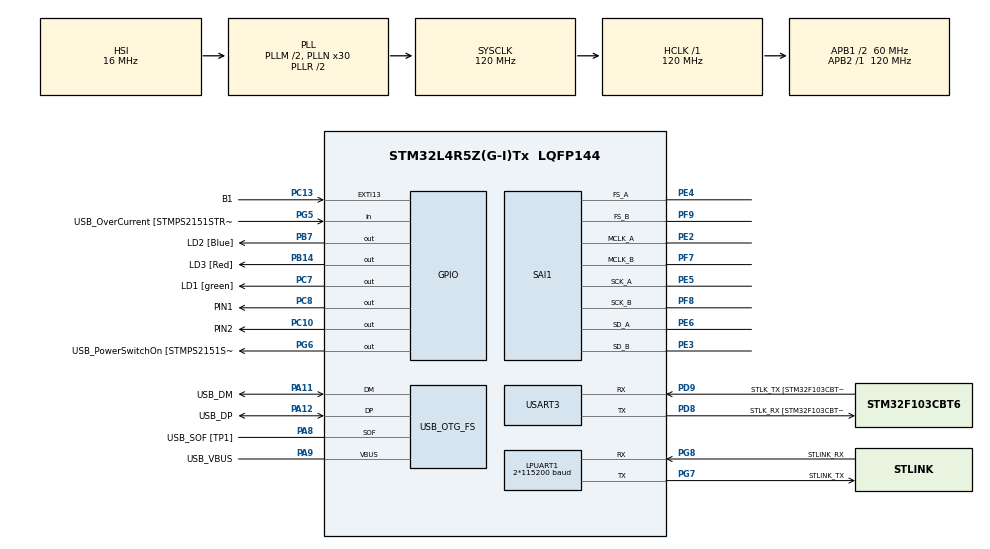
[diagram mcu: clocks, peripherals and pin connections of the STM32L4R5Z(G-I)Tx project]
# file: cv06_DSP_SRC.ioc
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Dma.LPUART1_RX.0.Direction=DMA_PERIPH_TO_MEMORY
Dma.LPUART1_RX.0.EventEnable=DISABLE
Dma.LPUART1_RX.0.Instance=DMA1_Channel1
Dma.LPUART1_RX.0.MemDataAlignment=DMA_MDATAALIGN_BYTE
Dma.LPUART1_RX.0.MemInc=DMA_MINC_ENABLE
Dma.LPUART1_RX.0.Mode=DMA_NORMAL
Dma.LPUART1_RX.0.PeriphDataAlignment=DMA_PDATAALIGN_BYTE
Dma.LPUART1_RX.0.PeriphInc=DMA_PINC_DISABLE
Dma.LPUART1_RX.0.Polarity=HAL_DMAMUX_REQUEST_GEN_RISING
Dma.LPUART1_RX.0.Priority=DMA_PRIORITY_LOW
Dma.LPUART1_RX.0.RequestNumber=1
Dma.LPUART1_RX.0.SignalID=NONE
Dma.LPUART1_RX.0.SyncEnable=DISABLE
Dma.LPUART1_RX.0.SyncPolarity=HAL_DMAMUX_SYNC_NO_EVENT
Dma.LPUART1_RX.0.SyncRequestNumber=1
Dma.LPUART1_RX.0.SyncSignalID=NONE
Dma.LPUART1_TX.1.Direction=DMA_MEMORY_TO_PERIPH
Dma.LPUART1_TX.1.EventEnable=DISABLE
Dma.LPUART1_TX.1.Instance=DMA1_Channel2
Dma.LPUART1_TX.1.MemDataAlignment=DMA_MDATAALIGN_BYTE
Dma.LPUART1_TX.1.MemInc=DMA_MINC_ENABLE
Dma.LPUART1_TX.1.Mode=DMA_NORMAL
Dma.LPUART1_TX.1.PeriphDataAlignment=DMA_PDATAALIGN_BYTE
Dma.LPUART1_TX.1.PeriphInc=DMA_PINC_DISABLE
Dma.LPUART1_TX.1.Polarity=HAL_DMAMUX_REQUEST_GEN_RISING
Dma.LPUART1_TX.1.Priority=DMA_PRIORITY_LOW
Dma.LPUART1_TX.1.RequestNumber=1
Dma.LPUART1_TX.1.SignalID=NONE
Dma.LPUART1_TX.1.SyncEnable=DISABLE
Dma.LPUART1_TX.1.SyncPolarity=HAL_DMAMUX_SYNC_NO_EVENT
Dma.LPUART1_TX.1.SyncRequestNumber=1
Dma.LPUART1_TX.1.SyncSignalID=NONE
Dma.MEMTOMEM.2.Direction=DMA_MEMORY_TO_MEMORY
Dma.MEMTOMEM.2.EventEnable=DISABLE
Dma.MEMTOMEM.2.Instance=DMA2_Channel1
Dma.MEMTOMEM.2.MemDataAlignment=DMA_MDATAALIGN_WORD
Dma.MEMTOMEM.2.MemInc=DMA_MINC_ENABLE
Dma.MEMTOMEM.2.Mode=DMA_NORMAL
Dma.MEMTOMEM.2.PeriphDataAlignment=DMA_PDATAALIGN_WORD
Dma.MEMTOMEM.2.PeriphInc=DMA_PINC_ENABLE
Dma.MEMTOMEM.2.Polarity=HAL_DMAMUX_REQUEST_GEN_RISING
Dma.MEMTOMEM.2.Priority=DMA_PRIORITY_LOW
Dma.MEMTOMEM.2.RequestNumber=1
Dma.MEMTOMEM.2.SignalID=NONE
Dma.MEMTOMEM.2.SyncEnable=DISABLE
Dma.MEMTOMEM.2.SyncPolarity=HAL_DMAMUX_SYNC_NO_EVENT
Dma.MEMTOMEM.2.SyncRequestNumber=1
Dma.MEMTOMEM.2.SyncSignalID=NONE
Dma.Request0=LPUART1_RX
Dma.Request1=LPUART1_TX
Dma.Request2=MEMTOMEM
Dma.Request3=SAI1_A
Dma.Request4=SAI1_B
Dma.SAI1_A.3.Direction=DMA_MEMORY_TO_PERIPH
Dma.SAI1_A.3.EventEnable=DISABLE
Dma.SAI1_A.3.Instance=DMA1_Channel3
Dma.SAI1_A.3.MemDataAlignment=DMA_MDATAALIGN_WORD
Dma.SAI1_A.3.MemInc=DMA_MINC_ENABLE
Dma.SAI1_A.3.Mode=DMA_CIRCULAR
Dma.SAI1_A.3.PeriphDataAlignment=DMA_PDATAALIGN_WORD
Dma.SAI1_A.3.PeriphInc=DMA_PINC_DISABLE
Dma.SAI1_A.3.Polarity=HAL_DMAMUX_REQUEST_GEN_RISING
Dma.SAI1_A.3.Priority=DMA_PRIORITY_HIGH
Dma.SAI1_A.3.RequestNumber=1
Dma.SAI1_A.3.SignalID=NONE
Dma.SAI1_A.3.SyncEnable=DISABLE
Dma.SAI1_A.3.SyncPolarity=HAL_DMAMUX_SYNC_NO_EVENT
Dma.SAI1_A.3.SyncRequestNumber=1
Dma.SAI1_A.3.SyncSignalID=NONE
Dma.SAI1_B.4.Direction=DMA_PERIPH_TO_MEMORY
Dma.SAI1_B.4.EventEnable=DISABLE
Dma.SAI1_B.4.Instance=DMA1_Channel4
Dma.SAI1_B.4.MemDataAlignment=DMA_MDATAALIGN_WORD
Dma.SAI1_B.4.MemInc=DMA_MINC_ENABLE
Dma.SAI1_B.4.Mode=DMA_CIRCULAR
Dma.SAI1_B.4.PeriphDataAlignment=DMA_PDATAALIGN_WORD
Dma.SAI1_B.4.PeriphInc=DMA_PINC_DISABLE
Dma.SAI1_B.4.Polarity=HAL_DMAMUX_REQUEST_GEN_RISING
Dma.SAI1_B.4.Priority=DMA_PRIORITY_HIGH
Dma.SAI1_B.4.RequestNumber=1
Dma.SAI1_B.4.SignalID=NONE
Dma.SAI1_B.4.SyncEnable=DISABLE
Dma.SAI1_B.4.SyncPolarity=HAL_DMAMUX_SYNC_NO_EVENT
Dma.SAI1_B.4.SyncRequestNumber=1
Dma.SAI1_B.4.SyncSignalID=NONE
LPUART1.BaudRate=2*115200
LPUART1.WordLength=UART_WORDLENGTH_8B
Mcu.Family=STM32L4
Mcu.Name=STM32L4R5Z(G-I)Tx
Mcu.Package=LQFP144
NVIC.DMA1_Channel1_IRQn=true\:0\:0\:false\:false\:true\:false\:true\:true
NVIC.DMA1_Channel2_IRQn=true\:0\:0\:false\:false\:true\:false\:true\:true
NVIC.DMA1_Channel3_IRQn=true\:0\:0\:false\:false\:true\:false\:true\:true
NVIC.DMA1_Channel4_IRQn=true\:0\:0\:false\:false\:true\:false\:true\:true
NVIC.DMA2_Channel1_IRQn=true\:0\:0\:false\:false\:true\:true\:true\:true
NVIC.EXTI15_10_IRQn=true\:0\:0\:false\:false\:true\:true\:true\:true
NVIC.LPUART1_IRQn=true\:0\:0\:false\:false\:true\:true\:true\:true
NVIC.PriorityGroup=NVIC_PRIORITYGROUP_4
NVIC.SAI1_IRQn=true\:0\:0\:false\:false\:true\:true\:true\:true
NVIC.TIM6_DAC_IRQn=true\:0\:0\:false\:false\:true\:true\:true\:true
PA10.GPIO_Label=USB_ID
PA10.Signal=USB_OTG_FS_ID
PA11.GPIO_Label=USB_DM
PA11.Mode=Device_Only
PA11.Signal=USB_OTG_FS_DM
PA12.GPIO_Label=USB_DP
PA12.Mode=Device_Only
PA12.Signal=USB_OTG_FS_DP
PA13\ (JTMS/SWDIO).GPIO_Label=TMS
PA13\ (JTMS/SWDIO).Mode=Trace_Asynchronous_SW
PA13\ (JTMS/SWDIO).Signal=SYS_JTMS-SWDIO
PA14\ (JTCK/SWCLK).GPIO_Label=TCK
PA14\ (JTCK/SWCLK).Mode=Trace_Asynchronous_SW
PA14\ (JTCK/SWCLK).Signal=SYS_JTCK-SWCLK
PA8.GPIO_Label=USB_SOF [TP1]
PA8.Mode=Activate_SOF_FS
PA8.Signal=USB_OTG_FS_SOF
PA9.GPIO_Label=USB_VBUS
PA9.Mode=Activate_VBUS
PA9.Signal=USB_OTG_FS_VBUS
PB14.GPIO_Label=LD3 [Red]
PB14.Signal=GPIO_Output
PB3\ (JTDO/TRACESWO).GPIO_Label=SWO
PB3\ (JTDO/TRACESWO).Mode=Trace_Asynchronous_SW
PB3\ (JTDO/TRACESWO).Signal=SYS_JTDO-SWO
PB7.GPIO_Label=LD2 [Blue]
PB7.Signal=GPIO_Output
PC10.GPIO_Label=PIN2
PC10.Signal=GPIO_Output
PC13.GPIO_Label=B1
PC13.GPIO_ModeDefaultEXTI=GPIO_MODE_IT_RISING_FALLING
PC13.Signal=GPXTI13
PC14-OSC32_IN\ (PC14).Mode=LSE-External-Oscillator
PC14-OSC32_IN\ (PC14).Signal=RCC_OSC32_IN
PC15-OSC32_OUT\ (PC15).Mode=LSE-External-Oscillator
PC15-OSC32_OUT\ (PC15).Signal=RCC_OSC32_OUT
PC7.GPIO_Label=LD1 [green]
PC7.Signal=GPIO_Output
PC8.GPIO_Label=PIN1
PC8.Signal=GPIO_Output
PD8.GPIO_Label=STLK_RX [STM32F103CBT6_PA3]
PD8.Mode=Asynchronous
PD8.Signal=USART3_TX
PD9.GPIO_Label=STLK_TX [STM32F103CBT6_PA2]
PD9.Mode=Asynchronous
PD9.Signal=USART3_RX
PE2.Mode=SAI_A_MasterWithClock
PE2.Signal=SAI1_MCLK_A
PE3.Mode=SAI_B_MasterWithClock
PE3.Signal=SAI1_SD_B
PE4.Mode=SAI_A_MasterWithClock
PE4.Signal=SAI1_FS_A
PE5.Mode=SAI_A_MasterWithClock
PE5.Signal=SAI1_SCK_A
PE6.Mode=SAI_A_MasterWithClock
PE6.Signal=SAI1_SD_A
PF7.Mode=SAI_B_MasterWithClock
PF7.Signal=SAI1_MCLK_B
PF8.Mode=SAI_B_MasterWithClock
PF8.Signal=SAI1_SCK_B
PF9.Mode=SAI_B_MasterWithClock
PF9.Signal=SAI1_FS_B
PG5.GPIO_Label=USB_OverCurrent [STMPS2151STR_FAULT]
PG5.Signal=GPIO_Input
PG6.GPIO_Label=USB_PowerSwitchOn [STMPS2151STR_EN]
PG6.Signal=GPIO_Output
PG7.GPIO_Label=STLINK_TX
PG7.Mode=Asynchronous
PG7.Signal=LPUART1_TX
PG8.GPIO_Label=STLINK_RX
PG8.Mode=Asynchronous
PG8.Signal=LPUART1_RX
PH0-OSC_IN\ (PH0).Signal=RCC_OSC_IN
PH1-OSC_OUT\ (PH1).Signal=RCC_OSC_OUT
ProjectManager.HeapSize=0x200
ProjectManager.StackSize=0x400
ProjectManager.TargetToolchain=STM32CubeIDE
RCC.48MHZClocksFreq_Value=24000000
RCC.ADCFreq_Value=153600000
RCC.AHBFreq_Value=120000000
RCC.APB1CLKDivider=RCC_HCLK_DIV2
RCC.APB1Freq_Value=60000000
RCC.APB1TimFreq_Value=120000000
RCC.APB2Freq_Value=120000000
RCC.APB2TimFreq_Value=120000000
RCC.CK48CLockSelection=RCC_USBCLKSOURCE_HSI48
RCC.CortexFreq_Value=120000000
RCC.HCLKFreq_Value=120000000
RCC.HSE_VALUE=8000000
RCC.HSI48_VALUE=48000000
RCC.HSI_VALUE=16000000
RCC.MSI_VALUE=4000000
RCC.PLLM1=2
RCC.PLLM2=5
RCC.PLLMUL=RCC_PLL_MUL9
RCC.PLLN=30
RCC.PLLSAI1N=96
RCC.PLLSAI1P=RCC_PLLP_DIV25
RCC.PLLSourceVirtual=RCC_PLLSOURCE_HSI
RCC.PRESCALERUSB=RCC_USBCLKSOURCE_PLL_DIV1_5
RCC.SYSCLKFreq_VALUE=120000000
RCC.SYSCLKSource=RCC_SYSCLKSOURCE_PLLCLK
RCC.SYSCLKSourceVirtual=RCC_SYSCLKSOURCE_PLLCLK
RCC.USBFreq_Value=48000000
RCC.VCOOutputFreq_Value=240000000
SAI1.AudioFrequency-SAI_A_MasterWithClock=SAI_AUDIO_FREQUENCY_48K
SAI1.AudioFrequency-SAI_B_MasterWithClock=SAI_AUDIO_FREQUENCY_48K
SAI1.AudioMode-SAI_B_MasterWithClock=SAI_MODEMASTER_RX
SAI1.BasicDataSize-SAI_A_MasterWithClock=SAI_PROTOCOL_DATASIZE_24BIT
SAI1.BasicDataSize-SAI_B_MasterWithClock=SAI_PROTOCOL_DATASIZE_24BIT
SAI1.ErrorAudioFreq-SAI_A_MasterWithClock=0.0 %
SAI1.ErrorAudioFreq-SAI_B_MasterWithClock=0.0 %
SAI1.InitProtocol-SAI_A_MasterWithClock=Enable
SAI1.InitProtocol-SAI_B_MasterWithClock=Enable
SAI1.Instance-SAI_A_MasterWithClock=SAI$Index_Block_A
SAI1.Instance-SAI_B_MasterWithClock=SAI$Index_Block_B
SAI1.MClockEnable-SAI_A_MasterWithClock=SAI_MASTERCLOCK_ENABLE
SAI1.MClockEnable-SAI_B_MasterWithClock=SAI_MASTERCLOCK_ENABLE
SAI1.RealAudioFreq-SAI_A_MasterWithClock=48.0 KHz
SAI1.RealAudioFreq-SAI_B_MasterWithClock=48.0 KHz
SAI1.VirtualMode-SAI_A_MasterWithClock=VM_MASTER
SAI1.VirtualMode-SAI_B_MasterWithClock=VM_MASTER
SAI1.VirtualProtocol-SAI_A_BASIC=VM_BASIC_PROTOCOL
SAI1.VirtualProtocol-SAI_B_BASIC=VM_BASIC_PROTOCOL
TIM6.Period=12000
TIM6.Prescaler=1000
USART3.VirtualMode-Asynchronous=VM_ASYNC
USB_OTG_FS.VirtualMode=Device_Only
VP_SAI1_VP_$IpInstance_SAIA_SAI_BASIC.Mode=SAI_A_BASIC
VP_SAI1_VP_$IpInstance_SAIB_SAI_BASIC.Mode=SAI_B_BASIC
VP_TIM5_VS_ClockSourceINT.Mode=Internal
VP_TIM6_VS_ClockSourceINT.Mode=Enable_Timer
board=NUCLEO-L4R5ZI

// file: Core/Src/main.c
/* USER CODE BEGIN Header */
/**
  ******************************************************************************
  * @file           : main.c
  * @brief          : Main program body
  ******************************************************************************
  * @attention
  *
  * Copyright (c) 2024 STMicroelectronics.
  * All rights reserved.
  *
  * This software is licensed under terms that can be found in the LICENSE file
  * in the root directory of this software component.
  * If no LICENSE file comes with this software, it is provided AS-IS.
  *
  ******************************************************************************
  */
/* USER CODE END Header */
#include "main.h"

/* USER CODE BEGIN Includes */

#include <string.h>
#include "TimeStamp.h"
#include "DSP_SAI_config.h"
#include "MATLAB_2_STM32.h"

#include "math.h"
#include "arm_math.h"

/* USER CODE END Includes */

UART_HandleTypeDef hlpuart1;
UART_HandleTypeDef huart3;
DMA_HandleTypeDef hdma_lpuart1_rx;
DMA_HandleTypeDef hdma_lpuart1_tx;

SAI_HandleTypeDef hsai_BlockA1;
SAI_HandleTypeDef hsai_BlockB1;
DMA_HandleTypeDef hdma_sai1_a;
DMA_HandleTypeDef hdma_sai1_b;

TIM_HandleTypeDef htim5;
TIM_HandleTypeDef htim6;

PCD_HandleTypeDef hpcd_USB_OTG_FS;

DMA_HandleTypeDef hdma_memtomem_dma2_channel1;
/* USER CODE BEGIN PV */
#define BLOCK_SIZE_MAX1 4800
/* USER CODE END PV */

void SystemClock_Config(void);
void PeriphCommonClock_Config(void);
static void MX_GPIO_Init(void);
static void MX_DMA_Init(void);
static void MX_LPUART1_UART_Init(void);
static void MX_USART3_UART_Init(void);
static void MX_USB_OTG_FS_PCD_Init(void);
static void MX_TIM6_Init(void);
static void MX_TIM5_Init(void);
static void MX_SAI1_Init(void);

/* USER CODE BEGIN 0 */

void DataReceive_MTLB_Callback(uint16_t iD, uint32_t * xData, uint16_t nData_in_values)
{//kdyz prijdou data z matlabu, tak se toto zavola a zde je vetveni a zpracovani
	switch(iD)
	{
	case 40001://get temperature
//		DataTransmit2MTLB(40001,(uint8_t *) &teplota[nTeplota], 1);
		break;
	case 40002:
	//	DataTransmit2MTLB(40002,(uint8_t *) teplota, 61);
	case 35000:
		float x3[1000];

		TimeStamp_SET_char('X');

		for(int i=0; i<1000; i++)
		{
			x3[i]=arm_sin_f32(2*PI*1000*i/48000);//1544us (mikro sekund) - off SAI; 5200us on SAI

			//x3[i]=sin(2*PI*1000*i/48000);// 29933 us - vypnuty SAI
		}
		TimeStamp_SET_char('Y');

		uint32_t x_time = FindTimeStamp('Y') - FindTimeStamp('X');

		DataTransmit2MTLB(35000, (uint8_t *)x3, 1000);

		while(s2m_Status)// toto neni dobre reseni...
					{
					}

		DataTransmit2MTLB(15000,(uint8_t *) &x_time, 1);
		break;
	case 20000:
		if( xData[0] == 12345)
		{
			xData[0]++;
			DataTransmit2MTLB(20001,(uint8_t *)xData, 1);

		}
	default:
	}
}

uint32_t nALive, x_nALive;
uint32_t x, x1;
float Fs, f1, A1;
void HAL_TIM_PeriodElapsedCallback(TIM_HandleTypeDef *htim)
{
  if(htim == &htim6)
  {
	  x1++;
	  if(x1>=x)
	  {
		  HAL_GPIO_TogglePin(LD1_GPIO_Port, LD1_Pin);
		  x1=0;
	  }

	  x_nALive++;
	  if(x_nALive == 10)
	  {
		  x_nALive=0;
		  nALive++;
		  if(!m2s_Status)
			  DataTransmit2MTLB(1010, (uint8_t *) &nALive, 1);
	  }
  }
}

void HAL_GPIO_EXTI_Callback(uint16_t GPIO_Pin)
{
  if(GPIO_Pin==B1_Pin)
  {
	  if(HAL_GPIO_ReadPin(B1_GPIO_Port, B1_Pin))
	  {
		  x=1;
	  	  TimeStamp_SET_char('G');
	  }
	  else
	  {
		  x=5;
		  TimeStamp_SET_char('H');
		  uint32_t butt_transfer_time = FindTimeStamp('H') - FindTimeStamp('G');
		  DataTransmit2MTLB(10001, (uint8_t *) &butt_transfer_time, 1);
	  }
	  HAL_GPIO_WritePin(PIN1_GPIO_Port, PIN1_Pin, HAL_GPIO_ReadPin(B1_GPIO_Port, B1_Pin));
  }

}

uint32_t butt_transfer_time1;
uint32_t butt_transfer_time;

void XferCpltCallback(DMA_HandleTypeDef *hdma)
{
    //__NOP(); //Line reached only if transfer was successful. Toggle a breakpoint here
    TimeStamp_SET_F();
    TimeStamp_SET_F();

    butt_transfer_time1++;
    butt_transfer_time++;

}

/**
// Počet koeficientů filtru
#define NUM_COEF 11

// Koeficienty filtru vygenerované v MATLABU
const float fir_coef[NUM_COEF] = {
		-0.023807064296002131836837989453670161311f,
		 0.031135834400189601328667876600775343832f,
		 0.082627381107522157588363143077003769577f,
		 0.148407485940645150757077885828039143234f,
		 0.203350384636836856167008136253571137786f,
		 0.224744081340164686411142724864475894719f,
		 0.203350384636836856167008136253571137786f,
		 0.148407485940645150757077885828039143234f,
		 0.082627381107522157588363143077003769577f,
		 0.031135834400189601328667876600775343832f,
		-0.023807064296002131836837989453670161311f
};

static float history[NUM_COEF] = {0.0f};

//static uint32_t n;
**/

// --- Parametry filtru ---
#define NUM_STAGES 5    // Počet "biquad" sekcí (např. 1 pro filtr 2. řádu)
#define BLOCK_SIZE 64
// Instance filtru
arm_biquad_cascade_df2T_instance_f32 S_R;

static float32_t pCoeffs[NUM_STAGES * 5] = {
		    // --- Sekce 1 ---
		    // G1 = 0.04697057667...
		    // b0,b1,b2 = 1, 2, 1
		    // a1,a2 = -1.684..., 0.872...
		    0.04697057667412158f,  // b0*G1
		    0.09394115334824316f,  // b1*G1
		    0.04697057667412158f,  // b2*G1
		    1.6842446644939943f,   // -a1
		    -0.8721269711904805f,  // -a2

		    // --- Sekce 2 ---
		    // G2 = 0.04187764835...
		    // b0,b1,b2 = 1, 2, 1
		    // a1,a2 = -1.501..., 0.669...
		    0.04187764835816771f,  // b0*G2
		    0.08375529671633541f,  // b1*G2
		    0.04187764835816771f,  // b2*G2
		    1.5016252897669733f,   // -a1
		    -0.6691358831996440f,  // -a2

		    // --- Sekce 3 ---
		    // G3 = 0.03834126433...
		    // b0,b1,b2 = 1, 2, 1
		    // a1,a2 = -1.374..., 0.528...
		    0.03834126433168550f,  // b0*G3
		    0.07668252866337100f,  // b1*G3
		    0.03834126433168550f,  // b2*G3
		    1.3748196094891327f,   // -a1
		    -0.5281846668158747f,  // -a2

		    // --- Sekce 4 ---
		    // G4 = 0.03612488232...
		    // b0,b1,b2 = 1, 2, 1
		    // a1,a2 = -1.295..., 0.439...
		    0.03612488232307171f,  // b0*G4
		    0.07224976464614342f,  // b1*G4
		    0.03612488232307171f,  // b2*G4
		    1.2953458231997490f,   // -a1
		    -0.4398453524920359f,  // -a2

		    // --- Sekce 5 ---
		    // G5 = 0.03505939977...
		    // b0,b1,b2 = 1, 2, 1
		    // a1,a2 = -1.257..., 0.397...
		    0.03505939977279917f,  // b0*G5
		    0.07011879954559834f,  // b1*G5
		    0.03505939977279917f,  // b2*G5
		    1.2571403459100337f,   // -a1
		    -0.3973779450012304f   // -a2
		};
static float32_t pState[NUM_STAGES * 4];
/*
 * init pomoci
 * Parameters
	[in,out]	S	points to an instance of the filter data structure.
	[in]	numStages	number of 2nd order stages in the filter.
	[in]	pCoeffs	points to the filter coefficients.
	[in]	pState	points to the state buffer.

*/
void Init_IIR()
{
    // Inicializace filtru pro pravý kanál
    arm_biquad_cascade_df2T_init_f32(
        &S_R,       // Ukazatel na instanci
        NUM_STAGES, // Počet sekcí
        pCoeffs,    // Ukazatel na koeficienty
        pState      // Ukazatel na state buffer
    );

    // v budoucnu i pro levý kanál?
    //...
}

/**
 * výpočet pomocí
	Parameters
	[in]	S	points to an instance of the filter data structure
	[in]	pSrc	points to the block of input data
	[out]	pDst	points to the block of output data
	[in]	blockSize	number of samples to process
*/

void ProcessSamples()
{
	arm_copy_f32(sample_L, sample_L1, BLOCK_SIZE);

	arm_biquad_cascade_df2T_f32(&S_R,sample_L,sample_R1,BLOCK_SIZE);
	Status_Process_DSP_Complete=1;
}

/* USER CODE END 0 */

int main(void)
{

  /* USER CODE BEGIN 1 */
	x=5; x1=0;
	BlockSize = BLOCK_SIZE;
  /* USER CODE END 1 */

  /* MCU Configuration--------------------------------------------------------*/

  /* Reset of all peripherals, Initializes the Flash interface and the Systick. */
  HAL_Init();

  /* Configure the system clock */
  SystemClock_Config();

  /* Configure the peripherals common clocks */
  PeriphCommonClock_Config();

  /* USER CODE BEGIN SysInit */
  Init_IIR();
  /* USER CODE END SysInit */

  /* Initialize all configured peripherals */
  MX_GPIO_Init();
  MX_DMA_Init();
  MX_LPUART1_UART_Init();
  MX_USART3_UART_Init();
  MX_USB_OTG_FS_PCD_Init();
  MX_TIM6_Init();
  MX_TIM5_Init();
  MX_SAI1_Init();
  /* USER CODE BEGIN 2 */
  huart2MTLB = &hlpuart1;

  HAL_UART_Receive_DMA(huart2MTLB,( uint8_t *) buf_M_RX, 4);

  HAL_TIM_Base_Start_IT(&htim6);
  //m2s_Status = -1;

  TimeStamp_INIT(&htim5); //HAL_TIM_Base_Start_IT(&htim5);// for time measure GetTime()

  // vlastni pokus
//  //DMA mem copy experiment
//  int i;
//  for(i=0; i<BLOCK_SIZE_MAX; i++)
//      sample_L1[i]= i*i/159;
//  TimeStamp_SET_A();
//  for(i=0; i<BLOCK_SIZE_MAX; i++)
//      sample_L2[i]= sample_L1[i];
//  TimeStamp_SET_B();// 182570 ticks
//  HAL_DMA_RegisterCallback(&hdma_memtomem_dma2_channel1, HAL_DMA_XFER_CPLT_CB_ID, &XferCpltCallback);
//  TimeStamp_SET_C();// 29932 ticks
//  HAL_DMA_Start_IT(&hdma_memtomem_dma2_channel1, (uint32_t) sample_L1, (uint32_t) sample_R2, BLOCK_SIZE_MAX);
//  TimeStamp_SET_D();// 440

  //sin experiment
  float x, y, y1; UNUSED(y);UNUSED(y1);
  x=1.0;
  TimeStamp_SET_A();
  y=sin(x);   // 0.841470957
  TimeStamp_SET_B();//MATLAB: 0.841470984807897
  //uint32_t
  butt_transfer_time = FindTimeStamp('B') - FindTimeStamp('A'); UNUSED(butt_transfer_time);

  Fs=48000;
  f1=1000;
  A1= 4194304/4; //2^22;

  TimeStamp_SET_C();
  y1=arm_sin_f32(x); //0.841455162
  TimeStamp_SET_D();
  //uint32_t
  butt_transfer_time1 = FindTimeStamp('D') - FindTimeStamp('C'); UNUSED(butt_transfer_time1);

  status_SAI_Restart=0;
  HAL_SAI_Transmit_DMA(&hsai_BlockA1,(uint8_t *) buf_SAI_TX, 4*BlockSize);//Size is n samples (Data wdth is word (4 bytes - 32 bits))
  HAL_SAI_Receive_DMA(&hsai_BlockB1,(uint8_t *) buf_SAI_RX, 4*BlockSize); //this is master - start first
  /* USER CODE END 2 */

  /* Infinite loop */
  while (1)
  {

    /* USER CODE BEGIN 3 */
//	  if(HAL_GPIO_ReadPin(B1_GPIO_Port, B1_Pin))
//		  x=50;
//	  else
//		  x=500;
//
//	  HAL_Delay(x);
//	  HAL_GPIO_WritePin(LD1_GPIO_Port, LD1_Pin, GPIO_PIN_SET);
//	  HAL_Delay(x);
//	  HAL_GPIO_WritePin(LD1_GPIO_Port, LD1_Pin, GPIO_PIN_RESET);

	  m2s_Process();

  }
  /* USER CODE END 3 */
}

void SystemClock_Config(void)
{
  RCC_OscInitTypeDef RCC_OscInitStruct = {0};
  RCC_ClkInitTypeDef RCC_ClkInitStruct = {0};

  /** Configure the main internal regulator output voltage
  */
  if (HAL_PWREx_ControlVoltageScaling(PWR_REGULATOR_VOLTAGE_SCALE1_BOOST) != HAL_OK)
  {
    Error_Handler();
  }

  /** Initializes the RCC Oscillators according to the specified parameters
  * in the RCC_OscInitTypeDef structure.
  */
  RCC_OscInitStruct.OscillatorType = RCC_OSCILLATORTYPE_HSI48|RCC_OSCILLATORTYPE_HSI;
  RCC_OscInitStruct.HSIState = RCC_HSI_ON;
  RCC_OscInitStruct.HSI48State = RCC_HSI48_ON;
  RCC_OscInitStruct.HSICalibrationValue = RCC_HSICALIBRATION_DEFAULT;
  RCC_OscInitStruct.PLL.PLLState = RCC_PLL_ON;
  RCC_OscInitStruct.PLL.PLLSource = RCC_PLLSOURCE_HSI;
  RCC_OscInitStruct.PLL.PLLM = 2;
  RCC_OscInitStruct.PLL.PLLN = 30;
  RCC_OscInitStruct.PLL.PLLP = RCC_PLLP_DIV2;
  RCC_OscInitStruct.PLL.PLLQ = RCC_PLLQ_DIV2;
  RCC_OscInitStruct.PLL.PLLR = RCC_PLLR_DIV2;
  if (HAL_RCC_OscConfig(&RCC_OscInitStruct) != HAL_OK)
  {
    Error_Handler();
  }

  /** Initializes the CPU, AHB and APB buses clocks
  */
  RCC_ClkInitStruct.ClockType = RCC_CLOCKTYPE_HCLK|RCC_CLOCKTYPE_SYSCLK
                              |RCC_CLOCKTYPE_PCLK1|RCC_CLOCKTYPE_PCLK2;
  RCC_ClkInitStruct.SYSCLKSource = RCC_SYSCLKSOURCE_PLLCLK;
  RCC_ClkInitStruct.AHBCLKDivider = RCC_SYSCLK_DIV1;
  RCC_ClkInitStruct.APB1CLKDivider = RCC_HCLK_DIV2;
  RCC_ClkInitStruct.APB2CLKDivider = RCC_HCLK_DIV1;

  if (HAL_RCC_ClockConfig(&RCC_ClkInitStruct, FLASH_LATENCY_5) != HAL_OK)
  {
    Error_Handler();
  }
}

void PeriphCommonClock_Config(void)
{
  RCC_PeriphCLKInitTypeDef PeriphClkInit = {0};

  /** Initializes the peripherals clock
  */
  PeriphClkInit.PeriphClockSelection = RCC_PERIPHCLK_SAI1;
  PeriphClkInit.Sai1ClockSelection = RCC_SAI1CLKSOURCE_PLLSAI1;
  PeriphClkInit.PLLSAI1.PLLSAI1Source = RCC_PLLSOURCE_HSI;
  PeriphClkInit.PLLSAI1.PLLSAI1M = 5;
  PeriphClkInit.PLLSAI1.PLLSAI1N = 96;
  PeriphClkInit.PLLSAI1.PLLSAI1P = RCC_PLLP_DIV25;
  PeriphClkInit.PLLSAI1.PLLSAI1Q = RCC_PLLQ_DIV2;
  PeriphClkInit.PLLSAI1.PLLSAI1R = RCC_PLLR_DIV2;
  PeriphClkInit.PLLSAI1.PLLSAI1ClockOut = RCC_PLLSAI1_SAI1CLK;
  if (HAL_RCCEx_PeriphCLKConfig(&PeriphClkInit) != HAL_OK)
  {
    Error_Handler();
  }
}

static void MX_LPUART1_UART_Init(void)
{

  hlpuart1.Instance = LPUART1;
  hlpuart1.Init.BaudRate = 2*115200;
  hlpuart1.Init.WordLength = UART_WORDLENGTH_8B;
  hlpuart1.Init.StopBits = UART_STOPBITS_1;
  hlpuart1.Init.Parity = UART_PARITY_NONE;
  hlpuart1.Init.Mode = UART_MODE_TX_RX;
  hlpuart1.Init.HwFlowCtl = UART_HWCONTROL_NONE;
  hlpuart1.Init.OneBitSampling = UART_ONE_BIT_SAMPLE_DISABLE;
  hlpuart1.Init.ClockPrescaler = UART_PRESCALER_DIV1;
  hlpuart1.AdvancedInit.AdvFeatureInit = UART_ADVFEATURE_NO_INIT;
  hlpuart1.FifoMode = UART_FIFOMODE_DISABLE;
  if (HAL_UART_Init(&hlpuart1) != HAL_OK)
  {
    Error_Handler();
  }
  if (HAL_UARTEx_SetTxFifoThreshold(&hlpuart1, UART_TXFIFO_THRESHOLD_1_8) != HAL_OK)
  {
    Error_Handler();
  }
  if (HAL_UARTEx_SetRxFifoThreshold(&hlpuart1, UART_RXFIFO_THRESHOLD_1_8) != HAL_OK)
  {
    Error_Handler();
  }
  if (HAL_UARTEx_DisableFifoMode(&hlpuart1) != HAL_OK)
  {
    Error_Handler();
  }

}

static void MX_USART3_UART_Init(void)
{

  huart3.Instance = USART3;
  huart3.Init.BaudRate = 115200;
  huart3.Init.WordLength = UART_WORDLENGTH_8B;
  huart3.Init.StopBits = UART_STOPBITS_1;
  huart3.Init.Parity = UART_PARITY_NONE;
  huart3.Init.Mode = UART_MODE_TX_RX;
  huart3.Init.HwFlowCtl = UART_HWCONTROL_NONE;
  huart3.Init.OverSampling = UART_OVERSAMPLING_16;
  huart3.Init.OneBitSampling = UART_ONE_BIT_SAMPLE_DISABLE;
  huart3.Init.ClockPrescaler = UART_PRESCALER_DIV1;
  huart3.AdvancedInit.AdvFeatureInit = UART_ADVFEATURE_NO_INIT;
  if (HAL_UART_Init(&huart3) != HAL_OK)
  {
    Error_Handler();
  }
  if (HAL_UARTEx_SetTxFifoThreshold(&huart3, UART_TXFIFO_THRESHOLD_1_8) != HAL_OK)
  {
    Error_Handler();
  }
  if (HAL_UARTEx_SetRxFifoThreshold(&huart3, UART_RXFIFO_THRESHOLD_1_8) != HAL_OK)
  {
    Error_Handler();
  }
  if (HAL_UARTEx_DisableFifoMode(&huart3) != HAL_OK)
  {
    Error_Handler();
  }

}

static void MX_SAI1_Init(void)
{

  hsai_BlockA1.Instance = SAI1_Block_A;
  hsai_BlockA1.Init.AudioMode = SAI_MODEMASTER_TX;
  hsai_BlockA1.Init.Synchro = SAI_ASYNCHRONOUS;
  hsai_BlockA1.Init.OutputDrive = SAI_OUTPUTDRIVE_DISABLE;
  hsai_BlockA1.Init.NoDivider = SAI_MASTERDIVIDER_ENABLE;
  hsai_BlockA1.Init.FIFOThreshold = SAI_FIFOTHRESHOLD_EMPTY;
  hsai_BlockA1.Init.AudioFrequency = SAI_AUDIO_FREQUENCY_48K;
  hsai_BlockA1.Init.SynchroExt = SAI_SYNCEXT_DISABLE;
  hsai_BlockA1.Init.MonoStereoMode = SAI_STEREOMODE;
  hsai_BlockA1.Init.CompandingMode = SAI_NOCOMPANDING;
  hsai_BlockA1.Init.TriState = SAI_OUTPUT_NOTRELEASED;
  if (HAL_SAI_InitProtocol(&hsai_BlockA1, SAI_I2S_STANDARD, SAI_PROTOCOL_DATASIZE_24BIT, 2) != HAL_OK)
  {
    Error_Handler();
  }
  hsai_BlockB1.Instance = SAI1_Block_B;
  hsai_BlockB1.Init.AudioMode = SAI_MODEMASTER_RX;
  hsai_BlockB1.Init.Synchro = SAI_ASYNCHRONOUS;
  hsai_BlockB1.Init.OutputDrive = SAI_OUTPUTDRIVE_DISABLE;
  hsai_BlockB1.Init.NoDivider = SAI_MASTERDIVIDER_ENABLE;
  hsai_BlockB1.Init.FIFOThreshold = SAI_FIFOTHRESHOLD_EMPTY;
  hsai_BlockB1.Init.AudioFrequency = SAI_AUDIO_FREQUENCY_48K;
  hsai_BlockB1.Init.SynchroExt = SAI_SYNCEXT_DISABLE;
  hsai_BlockB1.Init.MonoStereoMode = SAI_STEREOMODE;
  hsai_BlockB1.Init.CompandingMode = SAI_NOCOMPANDING;
  if (HAL_SAI_InitProtocol(&hsai_BlockB1, SAI_I2S_STANDARD, SAI_PROTOCOL_DATASIZE_24BIT, 2) != HAL_OK)
  {
    Error_Handler();
  }

}

static void MX_TIM5_Init(void)
{

  TIM_ClockConfigTypeDef sClockSourceConfig = {0};
  TIM_MasterConfigTypeDef sMasterConfig = {0};

  htim5.Instance = TIM5;
  htim5.Init.Prescaler = 0;
  htim5.Init.CounterMode = TIM_COUNTERMODE_UP;
  htim5.Init.Period = 4294967295;
  htim5.Init.ClockDivision = TIM_CLOCKDIVISION_DIV1;
  htim5.Init.AutoReloadPreload = TIM_AUTORELOAD_PRELOAD_DISABLE;
  if (HAL_TIM_Base_Init(&htim5) != HAL_OK)
  {
    Error_Handler();
  }
  sClockSourceConfig.ClockSource = TIM_CLOCKSOURCE_INTERNAL;
  if (HAL_TIM_ConfigClockSource(&htim5, &sClockSourceConfig) != HAL_OK)
  {
    Error_Handler();
  }
  sMasterConfig.MasterOutputTrigger = TIM_TRGO_RESET;
  sMasterConfig.MasterSlaveMode = TIM_MASTERSLAVEMODE_DISABLE;
  if (HAL_TIMEx_MasterConfigSynchronization(&htim5, &sMasterConfig) != HAL_OK)
  {
    Error_Handler();
  }

}

static void MX_TIM6_Init(void)
{

  TIM_MasterConfigTypeDef sMasterConfig = {0};

  htim6.Instance = TIM6;
  htim6.Init.Prescaler = 1000;
  htim6.Init.CounterMode = TIM_COUNTERMODE_UP;
  htim6.Init.Period = 12000;
  htim6.Init.AutoReloadPreload = TIM_AUTORELOAD_PRELOAD_DISABLE;
  if (HAL_TIM_Base_Init(&htim6) != HAL_OK)
  {
    Error_Handler();
  }
  sMasterConfig.MasterOutputTrigger = TIM_TRGO_RESET;
  sMasterConfig.MasterSlaveMode = TIM_MASTERSLAVEMODE_DISABLE;
  if (HAL_TIMEx_MasterConfigSynchronization(&htim6, &sMasterConfig) != HAL_OK)
  {
    Error_Handler();
  }

}

static void MX_USB_OTG_FS_PCD_Init(void)
{

  hpcd_USB_OTG_FS.Instance = USB_OTG_FS;
  hpcd_USB_OTG_FS.Init.dev_endpoints = 6;
  hpcd_USB_OTG_FS.Init.speed = PCD_SPEED_FULL;
  hpcd_USB_OTG_FS.Init.phy_itface = PCD_PHY_EMBEDDED;
  hpcd_USB_OTG_FS.Init.Sof_enable = ENABLE;
  hpcd_USB_OTG_FS.Init.low_power_enable = DISABLE;
  hpcd_USB_OTG_FS.Init.lpm_enable = DISABLE;
  hpcd_USB_OTG_FS.Init.battery_charging_enable = ENABLE;
  hpcd_USB_OTG_FS.Init.use_dedicated_ep1 = DISABLE;
  hpcd_USB_OTG_FS.Init.vbus_sensing_enable = ENABLE;
  if (HAL_PCD_Init(&hpcd_USB_OTG_FS) != HAL_OK)
  {
    Error_Handler();
  }

}

static void MX_DMA_Init(void)
{

  /* DMA controller clock enable */
  __HAL_RCC_DMAMUX1_CLK_ENABLE();
  __HAL_RCC_DMA1_CLK_ENABLE();
  __HAL_RCC_DMA2_CLK_ENABLE();

  /* Configure DMA request hdma_memtomem_dma2_channel1 on DMA2_Channel1 */
  hdma_memtomem_dma2_channel1.Instance = DMA2_Channel1;
  hdma_memtomem_dma2_channel1.Init.Request = DMA_REQUEST_MEM2MEM;
  hdma_memtomem_dma2_channel1.Init.Direction = DMA_MEMORY_TO_MEMORY;
  hdma_memtomem_dma2_channel1.Init.PeriphInc = DMA_PINC_ENABLE;
  hdma_memtomem_dma2_channel1.Init.MemInc = DMA_MINC_ENABLE;
  hdma_memtomem_dma2_channel1.Init.PeriphDataAlignment = DMA_PDATAALIGN_WORD;
  hdma_memtomem_dma2_channel1.Init.MemDataAlignment = DMA_MDATAALIGN_WORD;
  hdma_memtomem_dma2_channel1.Init.Mode = DMA_NORMAL;
  hdma_memtomem_dma2_channel1.Init.Priority = DMA_PRIORITY_LOW;
  if (HAL_DMA_Init(&hdma_memtomem_dma2_channel1) != HAL_OK)
  {
    Error_Handler( );
  }

  /* DMA interrupt init */
  /* DMA1_Channel1_IRQn interrupt configuration */
  HAL_NVIC_SetPriority(DMA1_Channel1_IRQn, 0, 0);
  HAL_NVIC_EnableIRQ(DMA1_Channel1_IRQn);
  /* DMA1_Channel2_IRQn interrupt configuration */
  HAL_NVIC_SetPriority(DMA1_Channel2_IRQn, 0, 0);
  HAL_NVIC_EnableIRQ(DMA1_Channel2_IRQn);
  /* DMA1_Channel3_IRQn interrupt configuration */
  HAL_NVIC_SetPriority(DMA1_Channel3_IRQn, 0, 0);
  HAL_NVIC_EnableIRQ(DMA1_Channel3_IRQn);
  /* DMA1_Channel4_IRQn interrupt configuration */
  HAL_NVIC_SetPriority(DMA1_Channel4_IRQn, 0, 0);
  HAL_NVIC_EnableIRQ(DMA1_Channel4_IRQn);
  /* DMA2_Channel1_IRQn interrupt configuration */
  HAL_NVIC_SetPriority(DMA2_Channel1_IRQn, 0, 0);
  HAL_NVIC_EnableIRQ(DMA2_Channel1_IRQn);

}

static void MX_GPIO_Init(void)
{
  GPIO_InitTypeDef GPIO_InitStruct = {0};

  /* GPIO Ports Clock Enable */
  __HAL_RCC_GPIOE_CLK_ENABLE();
  __HAL_RCC_GPIOC_CLK_ENABLE();
  __HAL_RCC_GPIOF_CLK_ENABLE();
  __HAL_RCC_GPIOH_CLK_ENABLE();
  __HAL_RCC_GPIOB_CLK_ENABLE();
  __HAL_RCC_GPIOD_CLK_ENABLE();
  __HAL_RCC_GPIOG_CLK_ENABLE();
  HAL_PWREx_EnableVddIO2();
  __HAL_RCC_GPIOA_CLK_ENABLE();

  /*Configure GPIO pin Output Level */
  HAL_GPIO_WritePin(GPIOB, LD3_Pin|LD2_Pin, GPIO_PIN_RESET);

  /*Configure GPIO pin Output Level */
  HAL_GPIO_WritePin(USB_PowerSwitchOn_GPIO_Port, USB_PowerSwitchOn_Pin, GPIO_PIN_RESET);

  /*Configure GPIO pin Output Level */
  HAL_GPIO_WritePin(GPIOC, LD1_Pin|PIN1_Pin|PIN2_Pin, GPIO_PIN_RESET);

  /*Configure GPIO pin : B1_Pin */
  GPIO_InitStruct.Pin = B1_Pin;
  GPIO_InitStruct.Mode = GPIO_MODE_IT_RISING_FALLING;
  GPIO_InitStruct.Pull = GPIO_NOPULL;
  HAL_GPIO_Init(B1_GPIO_Port, &GPIO_InitStruct);

  /*Configure GPIO pins : LD3_Pin LD2_Pin */
  GPIO_InitStruct.Pin = LD3_Pin|LD2_Pin;
  GPIO_InitStruct.Mode = GPIO_MODE_OUTPUT_PP;
  GPIO_InitStruct.Pull = GPIO_NOPULL;
  GPIO_InitStruct.Speed = GPIO_SPEED_FREQ_LOW;
  HAL_GPIO_Init(GPIOB, &GPIO_InitStruct);

  /*Configure GPIO pin : USB_OverCurrent_Pin */
  GPIO_InitStruct.Pin = USB_OverCurrent_Pin;
  GPIO_InitStruct.Mode = GPIO_MODE_INPUT;
  GPIO_InitStruct.Pull = GPIO_NOPULL;
  HAL_GPIO_Init(USB_OverCurrent_GPIO_Port, &GPIO_InitStruct);

  /*Configure GPIO pin : USB_PowerSwitchOn_Pin */
  GPIO_InitStruct.Pin = USB_PowerSwitchOn_Pin;
  GPIO_InitStruct.Mode = GPIO_MODE_OUTPUT_PP;
  GPIO_InitStruct.Pull = GPIO_NOPULL;
  GPIO_InitStruct.Speed = GPIO_SPEED_FREQ_LOW;
  HAL_GPIO_Init(USB_PowerSwitchOn_GPIO_Port, &GPIO_InitStruct);

  /*Configure GPIO pins : LD1_Pin PIN1_Pin PIN2_Pin */
  GPIO_InitStruct.Pin = LD1_Pin|PIN1_Pin|PIN2_Pin;
  GPIO_InitStruct.Mode = GPIO_MODE_OUTPUT_PP;
  GPIO_InitStruct.Pull = GPIO_NOPULL;
  GPIO_InitStruct.Speed = GPIO_SPEED_FREQ_LOW;
  HAL_GPIO_Init(GPIOC, &GPIO_InitStruct);

  /* EXTI interrupt init*/
  HAL_NVIC_SetPriority(EXTI15_10_IRQn, 0, 0);
  HAL_NVIC_EnableIRQ(EXTI15_10_IRQn);

}

void Error_Handler(void)
{
  __disable_irq();
  while (1)
  {
  }
}
